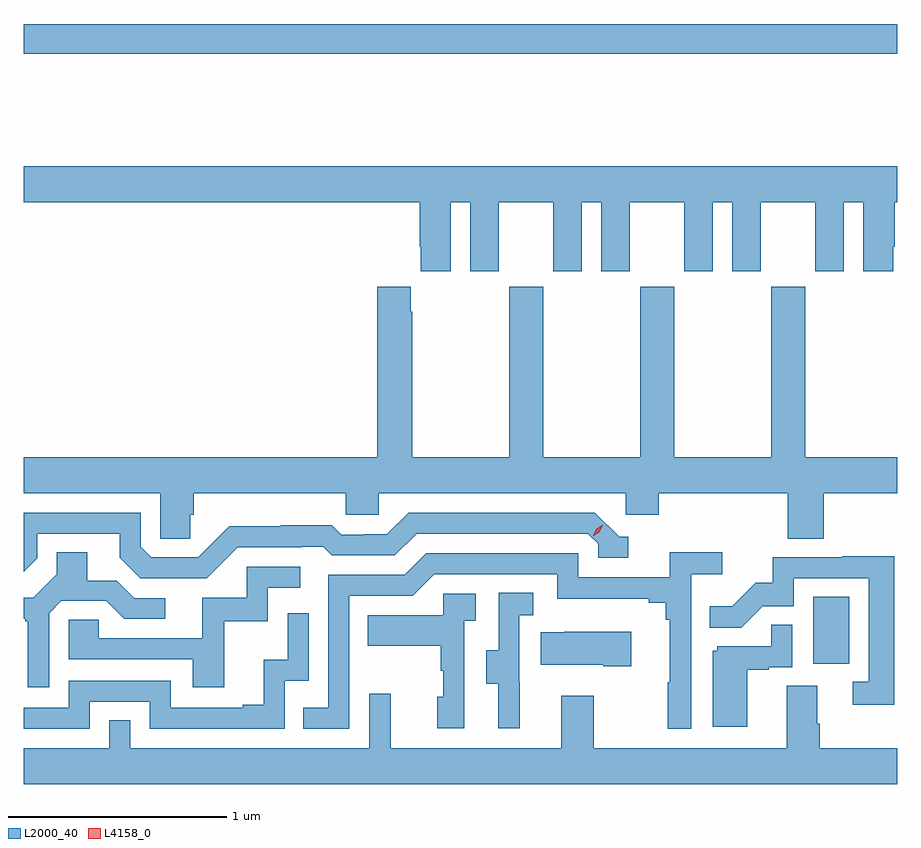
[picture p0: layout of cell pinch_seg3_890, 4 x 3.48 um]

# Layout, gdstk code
import gdstk
lib = gdstk.Library(unit=1e-6, precision=1e-09)
def R(c, l, rs):  # rectangles x0, y0, x1, y1
    for r in rs: c.add(gdstk.rectangle(r[:2], r[2:], *l))
def P(c, l, *ps):  # polygons
    for p in ps: c.add(gdstk.Polygon(p, *l))
L2000_40 = (2000, 40)
L4158_0 = (4158, 0)

pinch_seg3_890 = lib.new_cell('pinch_seg3_890')
R(pinch_seg3_890, L2000_40, [(880.868,689.478,881.032,689.785), (877.252,692.272,881.252,692.408)])
P(pinch_seg3_890, L2000_40, [(879.208,691.592),(879.296,691.592),(879.296,691.275),(879.427,691.275),(879.427,691.592),(879.677,691.592),(879.677,691.275),(879.808,691.275),(879.808,691.592),(879.896,691.592),(879.896,691.275),(880.027,691.275),(880.027,691.592),(880.277,691.592),(880.277,691.275),(880.408,691.275),(880.408,691.592),(880.496,691.592),(880.496,691.275),(880.627,691.275),(880.627,691.592),(880.877,691.592),(880.877,691.275),(881.008,691.275),(881.008,691.592),(881.096,691.592),(881.096,691.275),(881.233,691.275),(881.233,691.387),(881.24,691.387),(881.24,691.592),(881.252,691.592),(881.252,691.756),(877.252,691.756),(877.252,691.592),(879.065,691.592),(879.065,691.387),(879.071,691.387),(879.071,691.275),(879.208,691.275)],
  [(878.015,690.162),(878.03,690.162),(878.03,690.26),(878.727,690.26),(878.727,690.162),(878.877,690.162),(878.877,690.26),(880.008,690.26),(880.008,690.162),(880.16,690.162),(880.16,690.26),(880.751,690.26),(880.751,690.052),(880.916,690.052),(880.916,690.26),(881.252,690.26),(881.252,690.424),(880.83,690.424),(880.83,691.204),(880.675,691.204),(880.675,690.424),(880.23,690.424),(880.23,691.204),(880.075,691.204),(880.075,690.424),(879.63,690.424),(879.63,691.204),(879.475,691.204),(879.475,690.424),(879.03,690.424),(879.03,691.091),(879.025,691.091),(879.025,691.204),(878.87,691.204),(878.87,690.424),(877.252,690.424),(877.252,690.26),(877.878,690.26),(877.878,690.052),(878.015,690.052)],
  [(878.232,690.012),(878.525,690.012),(878.525,690.015),(878.624,690.015),(878.663,689.976),(878.952,689.976),(879.051,690.075),(879.834,690.075),(879.882,690.027),(879.882,689.964),(880.021,689.964),(880.021,690.06),(879.978,690.06),(879.867,690.171),(879.014,690.171),(878.915,690.072),(878.808,690.072),(878.808,690.069),(878.705,690.069),(878.663,690.112),(878.43,690.112),(878.43,690.109),(878.194,690.109),(878.052,689.967),(877.836,689.967),(877.788,690.015),(877.788,690.171),(877.252,690.171),(877.252,689.899),(877.314,689.961),(877.314,690.075),(877.691,690.075),(877.691,689.965),(877.785,689.871),(878.091,689.871)],
  [(877.368,689.709),(877.425,689.766),(877.631,689.766),(877.712,689.685),(877.9,689.685),(877.9,689.778),(877.758,689.778),(877.678,689.858),(877.543,689.858),(877.543,689.99),(877.403,689.99),(877.403,689.888),(877.296,689.781),(877.252,689.781),(877.252,689.684),(877.26,689.684),(877.26,689.673),(877.271,689.673),(877.271,689.37),(877.368,689.37)],
  [(878.742,689.79),(879.033,689.79),(879.132,689.889),(879.696,689.889),(879.696,689.777),(880.115,689.777),(880.115,689.758),(880.192,689.758),(880.192,689.681),(880.211,689.681),(880.211,689.393),(880.2,689.393),(880.2,689.181),(880.308,689.181),(880.308,689.888),(880.45,689.888),(880.45,689.99),(880.211,689.99),(880.211,689.874),(879.792,689.874),(879.792,689.985),(879.095,689.985),(878.996,689.886),(878.646,689.886),(878.646,689.277),(878.533,689.277),(878.533,689.181),(878.742,689.181)],
  [(881.237,689.972),(880.999,689.972),(880.999,689.967),(880.681,689.967),(880.681,689.85),(880.604,689.85),(880.497,689.743),(880.393,689.743),(880.393,689.644),(880.537,689.644),(880.635,689.742),(880.779,689.742),(880.779,689.871),(881.121,689.871),(881.121,689.397),(881.049,689.397),(881.049,689.292),(881.237,689.292)],
  [(878.171,689.673),(878.37,689.673),(878.37,689.826),(878.518,689.826),(878.518,689.922),(878.274,689.922),(878.274,689.781),(878.069,689.781),(878.069,689.595),(877.595,689.595),(877.595,689.679),(877.458,689.679),(877.458,689.499),(878.027,689.499),(878.027,689.37),(878.171,689.37)],
  [(879.524,689.397),(879.522,689.397),(879.522,689.701),(879.586,689.701),(879.586,689.804),(879.426,689.804),(879.426,689.541),(879.371,689.541),(879.371,689.386),(879.425,689.386),(879.425,689.184),(879.524,689.184)],
  [(879.27,689.675),(879.322,689.675),(879.322,689.799),(879.174,689.799),(879.174,689.701),(878.827,689.701),(878.827,689.561),(879.162,689.561),(879.162,689.447),(879.172,689.447),(879.172,689.328),(879.146,689.328),(879.146,689.184),(879.27,689.184)],
  [(877.554,689.304),(877.83,689.304),(877.83,689.181),(878.448,689.181),(878.448,689.4),(878.556,689.4),(878.556,689.71),(878.46,689.71),(878.46,689.498),(878.351,689.498),(878.351,689.29),(878.255,689.29),(878.255,689.277),(877.926,689.277),(877.926,689.4),(877.458,689.4),(877.458,689.277),(877.252,689.277),(877.252,689.181),(877.554,689.181)],
  [(880.564,689.451),(880.664,689.451),(880.664,689.463),(880.77,689.463),(880.77,689.657),(880.675,689.657),(880.675,689.559),(880.428,689.559),(880.428,689.538),(880.406,689.538),(880.406,689.19),(880.564,689.19)],
  [(880.033,689.626),(879.727,689.626),(879.727,689.623),(879.619,689.623),(879.619,689.474),(879.905,689.474),(879.905,689.467),(880.033,689.467)],
  [(881.252,689.092),(880.898,689.092),(880.898,689.204),(880.885,689.204),(880.885,689.378),(880.745,689.378),(880.745,689.092),(879.861,689.092),(879.861,689.332),(879.713,689.332),(879.713,689.092),(878.933,689.092),(878.933,689.341),(878.835,689.341),(878.835,689.092),(877.74,689.092),(877.74,689.219),(877.644,689.219),(877.644,689.092),(877.252,689.092),(877.252,688.928),(881.252,688.928)])
P(pinch_seg3_890, L4158_0, [(879.857,690.062),(879.857,690.062),(879.873,690.095),(879.904,690.114),(879.904,690.114),(879.904,690.114),(879.888,690.081),(879.857,690.062)])

lib.write_gds('pinch_seg3_890.gds')
